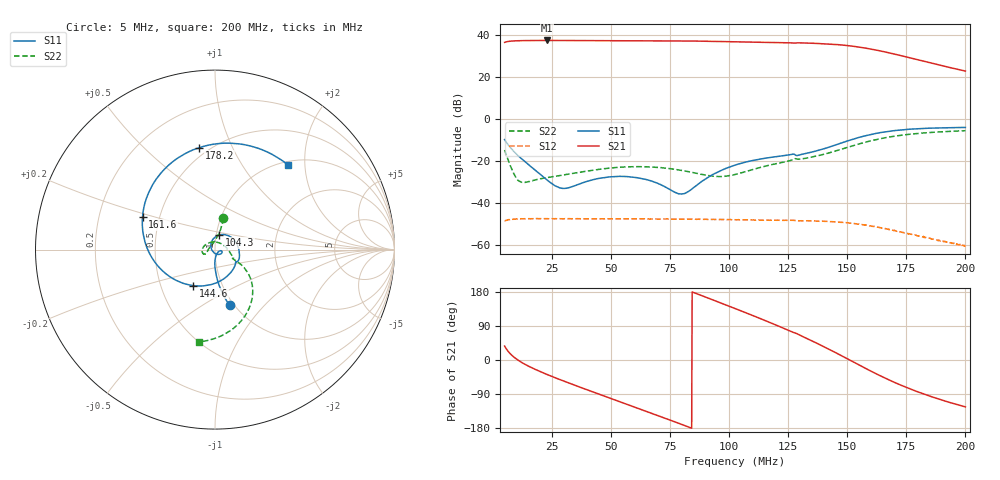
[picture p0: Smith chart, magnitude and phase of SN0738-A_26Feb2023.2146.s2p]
# Hz S DB R 50
! CMT, M5045, 22160017, 22.4.3/2
! Date: 2/26/2023 21:46:20
! Data: Format (Calibration Info)
! Freq	S11:dB/Ang(F2)	S21:dB/Ang(F2)	S12:dB/Ang(F2)	S22:dB/Ang(F2)
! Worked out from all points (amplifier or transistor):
!   1001 points, 5 MHz to 200 MHz, reference 50 ohm
!   highest |S21| = 37.4 dB at 22.94 MHz (marker M1)
!   |S21| within 3 dB of that: start of sweep to 154 MHz
!   unconditionally stable (mu >= 1): start of sweep to end of sweep
!   at 37.37 MHz: K = 1.78, MAG = 37.4 dB, |S12| = -47.6 dB
!   at 102.5 MHz: K = 1.96, MAG = 36.8 dB, |S12| = -48.1 dB
!   at 200 MHz: K = 17.49, MAG = 26.2 dB, |S12| = -60.5 dB
!   S11 on the Smith chart (normalised r, x): 5 MHz: 0.95, -0.66; 104.3 MHz: 1.03, +0.17; 144.6 MHz: 0.73, -0.31; 161.6 MHz: 0.40, +0.18; 178.2 MHz: 0.44, +0.75; 200 MHz: 1.07, +1.64
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5000000  -9.90 -75.4  36.45 36.8  -48.56 39.6  -14.83 75.5
7730000  -14.07 -83.5  37.06 14.4  -47.93 17.9  -23.17 80.6
1.1045e7  -17.90 -88.1  37.24 -1.9  -47.65 1.4  -29.65 117.9
2.294e7  -29.10 -81.0  37.37 -38.1  -47.61 -34.3  -27.99 -174.2
3.7565e7  -30.67 -12.5  37.33 -73.2  -47.59 -67.8  -25.35 -157.0
5.3165e7  -27.41 -21.8  37.28 -108.6  -47.71 -101.5  -23.10 -161.7
7.013e7  -30.93 -66.8  37.21 -147.2  -47.78 -137.8  -23.19 175.0
7.832e7  -35.63 -126.0  37.15 -166.2  -47.86 -155.8  -24.32 156.5
8.612e7  -31.84 150.5  37.07 175.4  -47.90 -173.6  -25.95 131.3
9.392e7  -26.05 110.9  36.94 156.7  -47.98 168.8  -27.40 94.0
1.025e8  -22.06 80.2  36.78 135.9  -48.10 149.6  -26.51 45.5
1.04255e8  -21.46 74.1  36.74 131.6  -48.18 145.4  -26.03 37.0
1.12445e8  -19.32 45.1  36.58 111.3  -48.17 125.8  -23.41 5.9
1.2005e8  -18.01 14.7  36.41 91.8  -48.31 107.4  -21.33 -11.5
1.29215e8  -17.39 -31.7  36.23 67.8  -48.61 83.1  -19.25 -26.7
1.35065e8  -15.83 -63.9  36.04 50.4  -48.59 67.1  -18.21 -27.9
1.4462e8  -12.61 -120.9  35.49 20.9  -49.11 38.7  -15.47 -30.1
1.52225e8  -9.77 -161.6  34.64 -4.0  -49.82 14.7  -12.88 -35.7
1.61585e8  -7.07 155.7  32.93 -34.3  -51.35 -14.8  -10.05 -48.0
1.6763e8  -5.94 132.4  31.48 -52.4  -52.82 -33.5  -8.70 -57.7
1.7816e8  -4.81 98.8  28.63 -80.1  -55.33 -59.6  -7.15 -73.8
2e8  -4.11 49.2  22.77 -123.7  -60.51 -104.3  -5.65 -99.9
